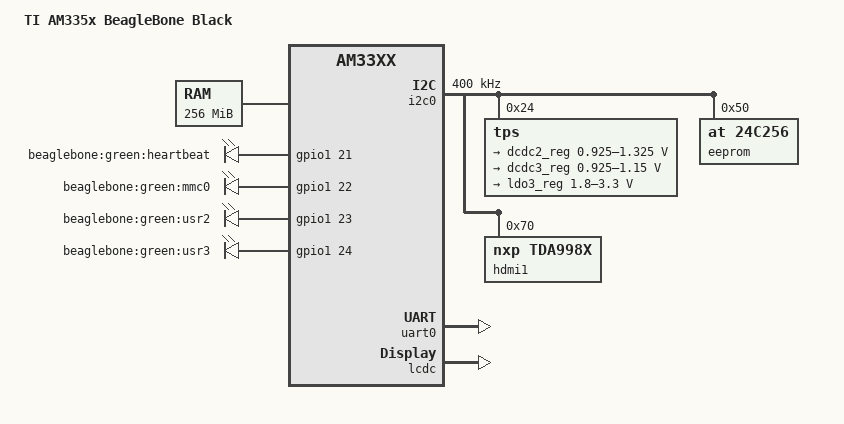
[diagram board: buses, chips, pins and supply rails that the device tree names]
/*
 * Copyright (C) 2012 Texas Instruments Incorporated - http://www.ti.com/
 *
 * This program is free software; you can redistribute it and/or modify
 * it under the terms of the GNU General Public License version 2 as
 * published by the Free Software Foundation.
 */
/dts-v1/;

/include/ "am33xx.dtsi"

/ {
	model = "TI AM335x BeagleBone Black";
	compatible = "ti,am335x-boneblack", "ti,am335x-bone", "ti,am33xx";

	cpus {
		cpu@0 {
			cpu0-supply = <&dcdc2_reg>;
		};
	};

	memory {
		device_type = "memory";
		reg = <0x80000000 0x10000000>; /* 256 MB */
	};

	am33xx_pinmux: pinmux@44e10800 {
		pinctrl-names = "default";
		pinctrl-0 = <&clkout2_pin &nxp_hdmi_bonelt_pins &nxp_hdmi_bonelt_off_pins>;

		userled_pins: pinmux_userled_pins {
			pinctrl-single,pins = <
				0x54 0x7	/* gpmc_a5.gpio1_21, OUTPUT | MODE7 */
				0x58 0x17	/* gpmc_a6.gpio1_22, OUTPUT_PULLUP | MODE7 */
				0x5c 0x7	/* gpmc_a7.gpio1_23, OUTPUT | MODE7 */
				0x60 0x17	/* gpmc_a8.gpio1_24, OUTPUT_PULLUP | MODE7 */
			>;
		};
		i2c0_pins: pinmux_i2c0_pins {
			pinctrl-single,pins = <
				0x188 0x70 	/* i2c0_sda, SLEWCTRL_SLOW | INPUT_PULLUP | MODE0 */
				0x18c 0x70	/* i2c0_scl, SLEWCTRL_SLOW | INPUT_PULLUP | MODE0 */
			>;
		};

		uart0_pins: pinmux_uart0_pins {
			pinctrl-single,pins = <
				0x170 0x30	/* uart0_rxd.uart0_rxd PULLUP |INPUTENABLE | MODE0 */
				0x174 0x00	/* uart0_txd.uart0_txd PULLDOWN | MODE0 */
			>;
		};

		clkout2_pin: pinumx_clkout2_pin {
			pinctrl-single,pins = <
				0x1b4 0x03	/* xdma_event_intr1.clkout2 OMAP_MUX_MODE3 | AM33XX_PIN_OUTPUT */
			>;
		};

		nxp_hdmi_bonelt_pins: nxp_hdmi_bonelt_pins {
			pinctrl-single,pins = <
				0x1b0 0x03      /* xdma_event_intr0, OMAP_MUX_MODE3 | AM33XX_PIN_OUTPUT */
				0xa0 0x08       /* lcd_data0.lcd_data0, OMAP_MUX_MODE0 | AM33XX_PIN_OUTPUT | AM33XX_PULL_DISA */
				0xa4 0x08       /* lcd_data1.lcd_data1, OMAP_MUX_MODE0 | AM33XX_PIN_OUTPUT | AM33XX_PULL_DISA */
				0xa8 0x08       /* lcd_data2.lcd_data2, OMAP_MUX_MODE0 | AM33XX_PIN_OUTPUT | AM33XX_PULL_DISA */
				0xac 0x08       /* lcd_data3.lcd_data3, OMAP_MUX_MODE0 | AM33XX_PIN_OUTPUT | AM33XX_PULL_DISA */
				0xb0 0x08       /* lcd_data4.lcd_data4, OMAP_MUX_MODE0 | AM33XX_PIN_OUTPUT | AM33XX_PULL_DISA */
				0xb4 0x08       /* lcd_data5.lcd_data5, OMAP_MUX_MODE0 | AM33XX_PIN_OUTPUT | AM33XX_PULL_DISA */
				0xb8 0x08       /* lcd_data6.lcd_data6, OMAP_MUX_MODE0 | AM33XX_PIN_OUTPUT | AM33XX_PULL_DISA */
				0xbc 0x08       /* lcd_data7.lcd_data7, OMAP_MUX_MODE0 | AM33XX_PIN_OUTPUT | AM33XX_PULL_DISA */
				0xc0 0x08       /* lcd_data8.lcd_data8, OMAP_MUX_MODE0 | AM33XX_PIN_OUTPUT | AM33XX_PULL_DISA */
				0xc4 0x08       /* lcd_data9.lcd_data9, OMAP_MUX_MODE0 | AM33XX_PIN_OUTPUT | AM33XX_PULL_DISA */
				0xc8 0x08       /* lcd_data10.lcd_data10, OMAP_MUX_MODE0 | AM33XX_PIN_OUTPUT | AM33XX_PULL_DISA */
				0xcc 0x08       /* lcd_data11.lcd_data11, OMAP_MUX_MODE0 | AM33XX_PIN_OUTPUT | AM33XX_PULL_DISA */
				0xd0 0x08       /* lcd_data12.lcd_data12, OMAP_MUX_MODE0 | AM33XX_PIN_OUTPUT | AM33XX_PULL_DISA */
				0xd4 0x08       /* lcd_data13.lcd_data13, OMAP_MUX_MODE0 | AM33XX_PIN_OUTPUT | AM33XX_PULL_DISA */
				0xd8 0x08       /* lcd_data14.lcd_data14, OMAP_MUX_MODE0 | AM33XX_PIN_OUTPUT | AM33XX_PULL_DISA */
				0xdc 0x08       /* lcd_data15.lcd_data15, OMAP_MUX_MODE0 | AM33XX_PIN_OUTPUT | AM33XX_PULL_DISA */
				0xe0 0x00       /* lcd_vsync.lcd_vsync, OMAP_MUX_MODE0 | AM33XX_PIN_OUTPUT */
				0xe4 0x00       /* lcd_hsync.lcd_hsync, OMAP_MUX_MODE0 | AM33XX_PIN_OUTPUT */
				0xe8 0x00       /* lcd_pclk.lcd_pclk, OMAP_MUX_MODE0 | AM33XX_PIN_OUTPUT */
				0xec 0x00       /* lcd_ac_bias_en.lcd_ac_bias_en, OMAP_MUX_MODE0 | AM33XX_PIN_OUTPUT */
			>;
		};
		nxp_hdmi_bonelt_off_pins: nxp_hdmi_bonelt_off_pins {
			pinctrl-single,pins = <
				0x1b0 0x03      /* xdma_event_intr0, OMAP_MUX_MODE3 | AM33XX_PIN_OUTPUT */
			>;
		};
			mcasp0_pins: mcasp0_pins {
			pinctrl-single,pins = <
				0x1ac 0x30      /* mcasp0_ahclkx,       MODE0 | INPUT */
				0x19c 0x02	/* mcasp0_ahclkr, */
				0x194 0x10      /* mcasp0_fsx,         MODE0 | OUTPUT  */ 
				0x190 0x00      /* mcasp0_aclkr.mcasp0_aclkx,     MODE0 | OUTPUT_PULLDOWN */
				0x1a8 0x1f	/* mcasp0_axr1 GPIO1_27 | OUTPUT | PULLUP */
			>;
		};

	};

	ocp: ocp {
		i2c0: i2c@44e0b000 {
			pinctrl-names = "default";
			pinctrl-0 = <&i2c0_pins>;

			status = "okay";
			clock-frequency = <400000>;

			tps: tps@24 {
				reg = <0x24>;
			};

			eeprom: eeprom@50 {
				compatible = "at,24c256";
				reg = <0x50>;
			};

			hdmi1: hdmi@70 {
			      compatible = "nxp,tda998x";
			      reg = <0x70>;
			};
		};

		uart0: serial@44e09000 {
			pinctrl-names = "default";
			pinctrl-0 = <&uart0_pins>;

			status = "okay";
		};


		rtc@44e3e000 {
			ti,system-power-controller;
		};

		lcdc {
			compatible = "ti,da830-lcdc", "ti,am33xx-lcdc";
			reg = <0x4830e000 0x1000>;
			interrupt-parent = <&intc>;
			interrupts = <36>;
			ti,hwmods = "lcdc";
			status = "okay";
			hdmi = <&hdmi1>;
			display-timings {
					640x480P60 {
						   clock-frequency = <25200000>;
						   hactive = <640>;
						   vactive = <480>;
						   hfront-porch = <16>;
						   hback-porch = <48>;
						   hsync-len = <96>;
						   vback-porch = <31>;
						   vfront-porch = <11>;
						   vsync-len = <2>;
						   hsync-active = <0>;
						   vsync-active = <0>;
					};
					1280x1024P60 {
						   clock-frequency = <108000000>;
						   hactive = <1280>;
						   vactive = <1024>;
						   hfront-porch = <48>;
						   hback-porch = <248>;
						   hsync-len = <112>;
						   vback-porch = <38>;
						   vfront-porch = <1>;
						   vsync-len = <3>;
						   hsync-active = <1>;
						   vsync-active = <1>;
					};
					1024x768P60 {
						   clock-frequency = <65000000>;
						   hactive = <1024>;
						   vactive = <768>;
						   hfront-porch = <24>;
						   hback-porch = <160>;
						   hsync-len = <136>;
						   vback-porch = <29>;
						   vfront-porch = <3>;
						   vsync-len = <6>;
						   hsync-active = <0>;
						   vsync-active = <0>;
					};
			};
		};

	};

	leds {
		pinctrl-names = "default";
		pinctrl-0 = <&userled_pins>;

		compatible = "gpio-leds";

		led0 {
			label = "beaglebone:green:heartbeat";
			gpios = <&gpio1 21 0>;
			linux,default-trigger = "heartbeat";
			default-state = "off";
		};

		led1 {
			label = "beaglebone:green:mmc0";
			gpios = <&gpio1 22 0>;
			linux,default-trigger = "mmc0";
			default-state = "off";
		};

		led2 {
			label = "beaglebone:green:usr2";
			gpios = <&gpio1 23 0>;
			default-state = "off";
		};

		led3 {
			label = "beaglebone:green:usr3";
			gpios = <&gpio1 24 0>;
			linux,default-trigger = "mmc1";
			default-state = "off";
		};
	};
};

/include/ "tps65217.dtsi"

&tps {
	ti,pmic-shutdown-controller;

	regulators {
		dcdc1_reg: regulator@0 {
			regulator-always-on;
		};

		dcdc2_reg: regulator@1 {
			/* VDD_MPU voltage limits 0.95V - 1.26V with +/-4% tolerance */
			regulator-name = "vdd_mpu";
			regulator-min-microvolt = <925000>;
			regulator-max-microvolt = <1325000>;
			regulator-boot-on;
			regulator-always-on;
		};

		dcdc3_reg: regulator@2 {
			/* VDD_CORE voltage limits 0.95V - 1.1V with +/-4% tolerance */
			regulator-name = "vdd_core";
			regulator-min-microvolt = <925000>;
			regulator-max-microvolt = <1150000>;
			regulator-boot-on;
			regulator-always-on;
		};

		ldo1_reg: regulator@3 {
			regulator-always-on;
		};

		ldo2_reg: regulator@4 {
			regulator-always-on;
		};

		ldo3_reg: regulator@5 {
			regulator-min-microvolt = <1800000>;
			regulator-max-microvolt = <3300000>;
			regulator-always-on;
		};

		ldo4_reg: regulator@6 {
			regulator-always-on;
		};
	};
};

&cpsw_emac0 {
	phy_id = <&davinci_mdio>, <0>;
};

&cpsw_emac1 {
	phy_id = <&davinci_mdio>, <1>;
};

